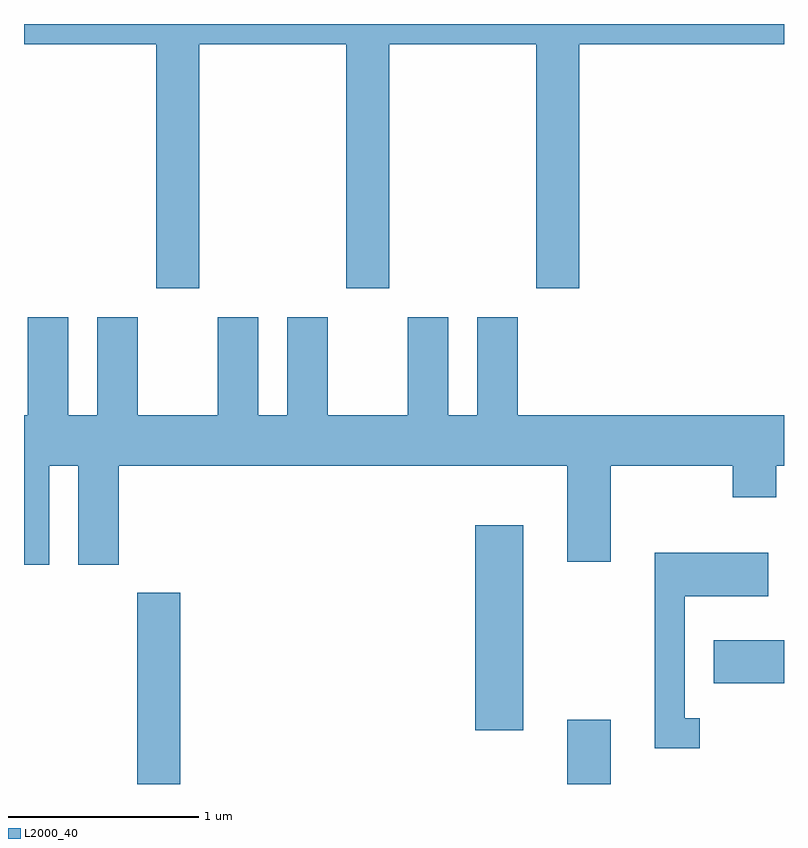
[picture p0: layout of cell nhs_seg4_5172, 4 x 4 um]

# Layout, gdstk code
import gdstk
lib = gdstk.Library(unit=1e-6, precision=1e-09)
def R(c, l, rs):  # rectangles x0, y0, x1, y1
    for r in rs: c.add(gdstk.rectangle(r[:2], r[2:], *l))
def P(c, l, *ps):  # polygons
    for p in ps: c.add(gdstk.Polygon(p, *l))
L2000_40 = (2000, 40)

nhs_seg4_5172 = lib.new_cell('nhs_seg4_5172')
R(nhs_seg4_5172, L2000_40, [(338.206,1261.982,338.434,1262.989), (340.471,1261.982,340.699,1262.319), (339.986,1262.266,340.239,1263.344), (341.241,1262.511,341.611,1262.739)])
P(nhs_seg4_5172, L2000_40, [(338.534,1265.876),(339.306,1265.876),(339.306,1264.591),(339.534,1264.591),(339.534,1265.876),(340.306,1265.876),(340.306,1264.591),(340.534,1264.591),(340.534,1265.876),(341.611,1265.876),(341.611,1265.982),(337.611,1265.982),(337.611,1265.876),(338.306,1265.876),(338.306,1264.591),(338.534,1264.591)],
  [(337.744,1263.656),(337.896,1263.656),(337.896,1263.136),(338.109,1263.136),(338.109,1263.656),(340.471,1263.656),(340.471,1263.151),(340.699,1263.151),(340.699,1263.656),(341.341,1263.656),(341.341,1263.491),(341.569,1263.491),(341.569,1263.656),(341.611,1263.656),(341.611,1263.924),(340.209,1263.924),(340.209,1264.439),(339.996,1264.439),(339.996,1263.924),(339.844,1263.924),(339.844,1264.439),(339.631,1264.439),(339.631,1263.924),(339.209,1263.924),(339.209,1264.439),(338.996,1264.439),(338.996,1263.924),(338.844,1263.924),(338.844,1264.439),(338.631,1264.439),(338.631,1263.924),(338.209,1263.924),(338.209,1264.439),(337.996,1264.439),(337.996,1263.924),(337.844,1263.924),(337.844,1264.439),(337.631,1264.439),(337.631,1263.924),(337.611,1263.924),(337.611,1263.136),(337.744,1263.136)],
  [(341.168,1262.329),(341.089,1262.329),(341.089,1262.971),(341.529,1262.971),(341.529,1263.199),(340.931,1263.199),(340.931,1262.171),(341.168,1262.171)])

lib.write_gds('nhs_seg4_5172.gds')
